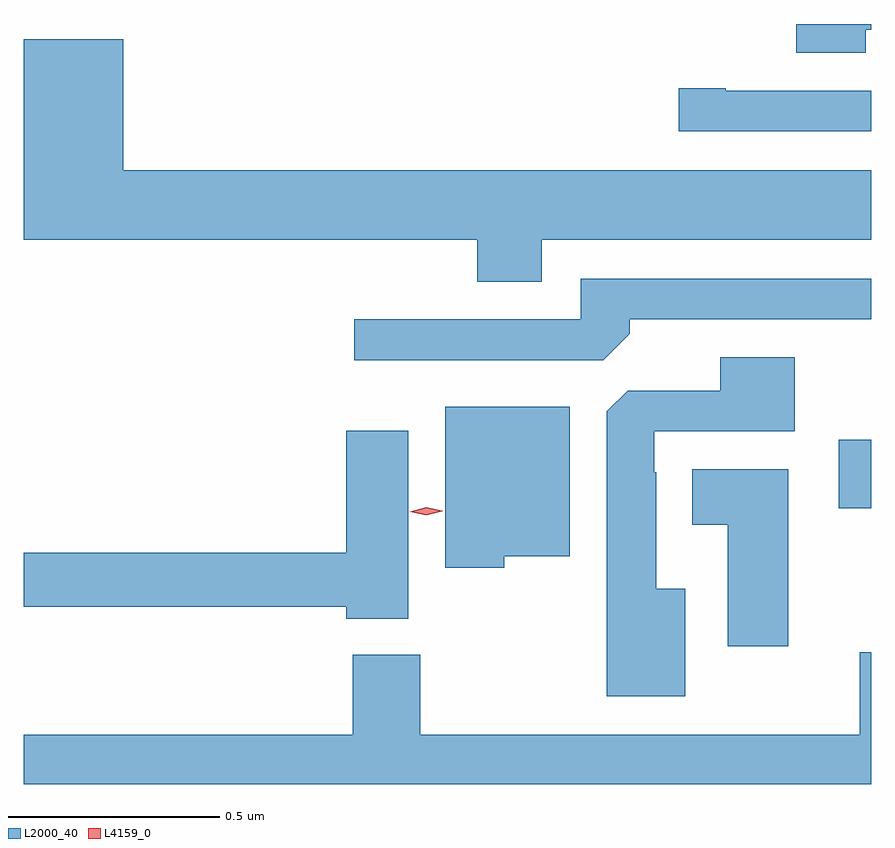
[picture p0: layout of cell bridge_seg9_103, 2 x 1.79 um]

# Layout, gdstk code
import gdstk
lib = gdstk.Library(unit=1e-6, precision=1e-09)
def R(c, l, rs):  # rectangles x0, y0, x1, y1
    for r in rs: c.add(gdstk.rectangle(r[:2], r[2:], *l))
def P(c, l, *ps):  # polygons
    for p in ps: c.add(gdstk.Polygon(p, *l))
L2000_40 = (2000, 40)
L4159_0 = (4159, 0)

bridge_seg9_103 = lib.new_cell('bridge_seg9_103')
R(bridge_seg9_103, L2000_40, [(779.454,1165.15,779.531,1165.312)])
P(bridge_seg9_103, L2000_40, [(779.518,1166.279),(779.531,1166.279),(779.531,1166.293),(779.354,1166.293),(779.354,1166.225),(779.518,1166.225)],
  [(778.753,1165.784),(779.531,1165.784),(779.531,1165.948),(777.766,1165.948),(777.766,1166.257),(777.531,1166.257),(777.531,1165.784),(778.601,1165.784),(778.601,1165.685),(778.753,1165.685)],
  [(779.531,1166.136),(779.188,1166.136),(779.188,1166.141),(779.076,1166.141),(779.076,1166.04),(779.531,1166.04)],
  [(778.961,1165.562),(778.961,1165.596),(779.531,1165.596),(779.531,1165.692),(778.845,1165.692),(778.845,1165.596),(778.311,1165.596),(778.311,1165.5),(778.899,1165.5)],
  [(779.092,1164.961),(779.023,1164.961),(779.023,1165.235),(779.019,1165.235),(779.019,1165.332),(779.35,1165.332),(779.35,1165.507),(779.174,1165.507),(779.174,1165.428),(778.956,1165.428),(778.907,1165.379),(778.907,1164.707),(779.092,1164.707)],
  [(778.665,1165.037),(778.819,1165.037),(778.819,1165.39),(778.526,1165.39),(778.526,1165.01),(778.665,1165.01)],
  [(778.438,1165.333),(778.292,1165.333),(778.292,1165.046),(777.531,1165.046),(777.531,1164.918),(778.292,1164.918),(778.292,1164.89),(778.438,1164.89)],
  [(779.335,1165.243),(779.108,1165.243),(779.108,1165.112),(779.192,1165.112),(779.192,1164.825),(779.335,1164.825)],
  [(779.531,1164.811),(779.504,1164.811),(779.504,1164.616),(778.467,1164.616),(778.467,1164.805),(778.307,1164.805),(778.307,1164.616),(777.531,1164.616),(777.531,1164.5),(779.531,1164.5)])
P(bridge_seg9_103, L4159_0, [(778.481,1165.134),(778.442,1165.142),(778.442,1165.142),(778.442,1165.142),(778.481,1165.153),(778.519,1165.145),(778.52,1165.145),(778.519,1165.144)])

lib.write_gds('bridge_seg9_103.gds')
